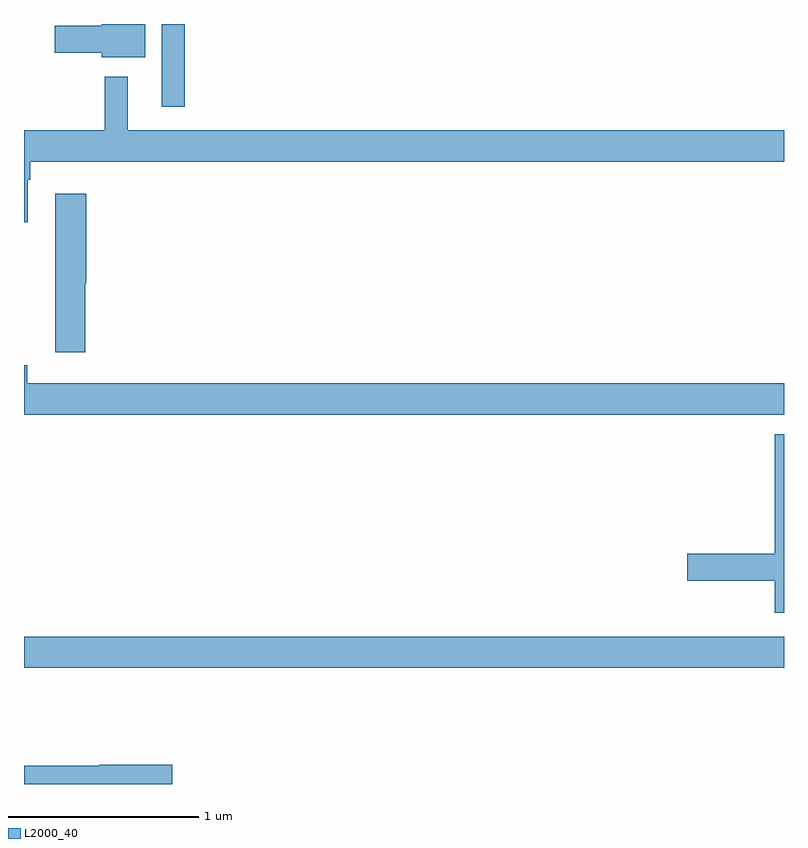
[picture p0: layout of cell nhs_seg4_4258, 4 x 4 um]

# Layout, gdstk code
import gdstk
lib = gdstk.Library(unit=1e-6, precision=1e-09)
def R(c, l, rs):  # rectangles x0, y0, x1, y1
    for r in rs: c.add(gdstk.rectangle(r[:2], r[2:], *l))
def P(c, l, *ps):  # polygons
    for p in ps: c.add(gdstk.Polygon(p, *l))
L2000_40 = (2000, 40)

nhs_seg4_4258 = lib.new_cell('nhs_seg4_4258')
R(nhs_seg4_4258, L2000_40, [(339,771.512,343,771.676), (339.725,774.465,339.847,774.9)])
P(nhs_seg4_4258, L2000_40, [(339.637,774.9),(339.41,774.9),(339.41,774.89),(339.162,774.89),(339.162,774.748),(339.41,774.748),(339.41,774.725),(339.637,774.725)],
  [(339.019,774.08),(339.032,774.08),(339.032,774.176),(343,774.176),(343,774.34),(339.547,774.34),(339.547,774.622),(339.426,774.622),(339.426,774.34),(339,774.34),(339,773.856),(339.019,773.856)],
  [(339.323,773.535),(339.328,773.535),(339.328,774.007),(339.164,774.007),(339.164,773.172),(339.323,773.172)],
  [(343,773.008),(339.017,773.008),(339.017,773.104),(339,773.104),(339,772.844),(343,772.844)],
  [(343,772.741),(342.95,772.741),(342.95,772.112),(342.492,772.112),(342.492,771.97),(342.95,771.97),(342.95,771.801),(343,771.801)],
  [(339.781,771.002),(339.396,771.002),(339.396,770.996),(339,770.996),(339,770.9),(339.781,770.9)])

lib.write_gds('nhs_seg4_4258.gds')
